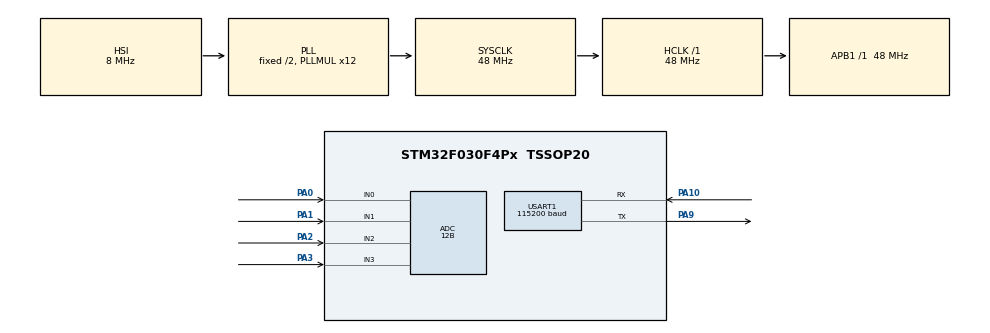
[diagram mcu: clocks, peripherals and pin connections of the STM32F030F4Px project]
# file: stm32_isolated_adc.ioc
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ADC.ClockPrescaler=ADC_CLOCK_SYNC_PCLK_DIV4
ADC.ContinuousConvMode=ENABLE
ADC.DMAContinuousRequests=ENABLE
ADC.DataAlign=ADC_DATAALIGN_RIGHT
ADC.DiscontinuousConvMode=DISABLE
ADC.EOCSelection=ADC_EOC_SEQ_CONV
ADC.EnableAnalogWatchDog=false
ADC.ExternalTrigConv=ADC_SOFTWARE_START
ADC.ExternalTrigConvEdge=ADC_EXTERNALTRIGCONVEDGE_NONE
ADC.LowPowerAutoPowerOff=DISABLE
ADC.LowPowerAutoWait=DISABLE
ADC.Overrun=ADC_OVR_DATA_OVERWRITTEN
ADC.Resolution=ADC_RESOLUTION_12B
ADC.SamplingTime=ADC_SAMPLETIME_239CYCLES_5
ADC.ScanConvMode=ADC_SCAN_DIRECTION_FORWARD
Dma.ADC.0.Direction=DMA_PERIPH_TO_MEMORY
Dma.ADC.0.Instance=DMA1_Channel1
Dma.ADC.0.MemDataAlignment=DMA_MDATAALIGN_HALFWORD
Dma.ADC.0.MemInc=DMA_MINC_ENABLE
Dma.ADC.0.Mode=DMA_CIRCULAR
Dma.ADC.0.PeriphDataAlignment=DMA_PDATAALIGN_HALFWORD
Dma.ADC.0.PeriphInc=DMA_PINC_DISABLE
Dma.ADC.0.Priority=DMA_PRIORITY_LOW
Dma.Request0=ADC
Dma.Request1=USART1_TX
Dma.USART1_TX.1.Direction=DMA_MEMORY_TO_PERIPH
Dma.USART1_TX.1.Instance=DMA1_Channel2
Dma.USART1_TX.1.MemDataAlignment=DMA_MDATAALIGN_BYTE
Dma.USART1_TX.1.MemInc=DMA_MINC_ENABLE
Dma.USART1_TX.1.Mode=DMA_NORMAL
Dma.USART1_TX.1.PeriphDataAlignment=DMA_PDATAALIGN_BYTE
Dma.USART1_TX.1.PeriphInc=DMA_PINC_DISABLE
Dma.USART1_TX.1.Priority=DMA_PRIORITY_LOW
Mcu.Family=STM32F0
Mcu.Name=STM32F030F4Px
Mcu.Package=TSSOP20
NVIC.ADC1_IRQn=true\:0\:0\:false\:false\:true\:true
NVIC.DMA1_Channel1_IRQn=true\:0\:0\:false\:false\:true\:false
NVIC.DMA1_Channel2_3_IRQn=true\:0\:0\:false\:false\:true\:false
NVIC.TIM1_BRK_UP_TRG_COM_IRQn=true\:0\:0\:false\:false\:true\:true
NVIC.USART1_IRQn=true\:0\:0\:false\:false\:true\:true
PA0.Mode=IN0
PA0.Signal=ADC_IN0
PA1.Mode=IN1
PA1.Signal=ADC_IN1
PA10.Mode=Asynchronous
PA10.Signal=USART1_RX
PA13.Mode=Serial_Wire
PA13.Signal=SYS_SWDIO
PA14.Mode=Serial_Wire
PA14.Signal=SYS_SWCLK
PA2.Mode=IN2
PA2.Signal=ADC_IN2
PA3.Mode=IN3
PA3.Signal=ADC_IN3
PA9.Mode=Asynchronous
PA9.Signal=USART1_TX
ProjectManager.HeapSize=0x200
ProjectManager.StackSize=0x400
ProjectManager.TargetToolchain=Other Toolchains (GPDSC)
RCC.AHBFreq_Value=48000000
RCC.APB1Freq_Value=48000000
RCC.APB1TimFreq_Value=48000000
RCC.HCLKFreq_Value=48000000
RCC.PLLMUL=RCC_PLL_MUL12
RCC.SYSCLKFreq_VALUE=48000000
RCC.SYSCLKSource=RCC_SYSCLKSOURCE_PLLCLK
RCC.Usart1ClockSelection=RCC_USART1CLKSOURCE_HSI
USART1.BaudRate=115200
USART1.DataInvertParam=ADVFEATURE_DATAINV_DISABLE
USART1.RxPinLevelInvertParam=ADVFEATURE_RXINV_DISABLE
USART1.TxPinLevelInvertParam=ADVFEATURE_TXINV_DISABLE
USART1.VirtualMode-Asynchronous=VM_ASYNC
VP_TIM1_VS_ClockSourceINT.Mode=Internal
board=stm32_isolated_adc

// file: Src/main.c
/**
  ******************************************************************************
  * File Name          : main.c
  * Description        : Main program body
  ******************************************************************************
  ** This notice applies to any and all portions of this file
  * that are not between comment pairs USER CODE BEGIN and
  * USER CODE END. Other portions of this file, whether
  * inserted by the user or by software development tools
  * are owned by their respective copyright owners.
  *
  * COPYRIGHT(c) 2018 STMicroelectronics
  *
  * Redistribution and use in source and binary forms, with or without modification,
  * are permitted provided that the following conditions are met:
  *   1. Redistributions of source code must retain the above copyright notice,
  *      this list of conditions and the following disclaimer.
  *   2. Redistributions in binary form must reproduce the above copyright notice,
  *      this list of conditions and the following disclaimer in the documentation
  *      and/or other materials provided with the distribution.
  *   3. Neither the name of STMicroelectronics nor the names of its contributors
  *      may be used to endorse or promote products derived from this software
  *      without specific prior written permission.
  *
  * THIS SOFTWARE IS PROVIDED BY THE COPYRIGHT HOLDERS AND CONTRIBUTORS "AS IS"
  * AND ANY EXPRESS OR IMPLIED WARRANTIES, INCLUDING, BUT NOT LIMITED TO, THE
  * IMPLIED WARRANTIES OF MERCHANTABILITY AND FITNESS FOR A PARTICULAR PURPOSE ARE
  * DISCLAIMED. IN NO EVENT SHALL THE COPYRIGHT HOLDER OR CONTRIBUTORS BE LIABLE
  * FOR ANY DIRECT, INDIRECT, INCIDENTAL, SPECIAL, EXEMPLARY, OR CONSEQUENTIAL
  * DAMAGES (INCLUDING, BUT NOT LIMITED TO, PROCUREMENT OF SUBSTITUTE GOODS OR
  * SERVICES; LOSS OF USE, DATA, OR PROFITS; OR BUSINESS INTERRUPTION) HOWEVER
  * CAUSED AND ON ANY THEORY OF LIABILITY, WHETHER IN CONTRACT, STRICT LIABILITY,
  * OR TORT (INCLUDING NEGLIGENCE OR OTHERWISE) ARISING IN ANY WAY OUT OF THE USE
  * OF THIS SOFTWARE, EVEN IF ADVISED OF THE POSSIBILITY OF SUCH DAMAGE.
  *
  ******************************************************************************
  */

#include "main.h"
#include "stm32f0xx_hal.h"

/* USER CODE BEGIN Includes */
//#include "log.h"
#include <pb_encode.h>
#include "adc_reading.pb.h"
/* USER CODE END Includes */

ADC_HandleTypeDef hadc;
DMA_HandleTypeDef hdma_adc;

TIM_HandleTypeDef htim1;

UART_HandleTypeDef huart1;
DMA_HandleTypeDef hdma_usart1_tx;

/* USER CODE BEGIN PV */
/* Private variables ---------------------------------------------------------*/
#define USE_FULL_ASSERT 1
/* USER CODE END PV */

void SystemClock_Config(void);
static void MX_GPIO_Init(void);
static void MX_DMA_Init(void);
static void MX_USART1_UART_Init(void);
static void MX_ADC_Init(void);
static void MX_TIM1_Init(void);

/* USER CODE BEGIN PFP */
/* Private function prototypes -----------------------------------------------*/

/* USER CODE END PFP */

/* USER CODE BEGIN 0 */
#define COUNTOF(__BUFFER__)   (sizeof(__BUFFER__) / sizeof(*(__BUFFER__)))
#define ADCCONVERTEDVALUES_BUFFER_SIZE ((uint8_t)    4)
volatile uint16_t   aADCxConvertedValues[ADCCONVERTEDVALUES_BUFFER_SIZE];
uint8_t         i = 0;
#define VDDA_APPLI                     ((uint32_t) 3300)    /* Value of analog voltage supply Vdda (unit: mV) */
#define RANGE_12BITS                   ((uint32_t) 4095)    /* Max digital value with a full range of 12 bits */
#define COMPUTATION_DIGITAL_12BITS_TO_VOLTAGE(ADC_DATA) ( ((ADC_DATA) * VDDA_APPLI) / RANGE_12BITS )
__IO ITStatus UartReady = SET;

void HAL_UART_TxCpltCallback(UART_HandleTypeDef *UartHandle) {
  /* Set transmission flag: trasfer complete*/
  UartReady = SET;
}

void HAL_UART_ErrorCallback(UART_HandleTypeDef *UartHandle) {
	Error_Handler();
}

/* USER CODE END 0 */

int main(void)
{

  /* MCU Configuration----------------------------------------------------------*/

  /* Reset of all peripherals, Initializes the Flash interface and the Systick. */
  HAL_Init();

  /* Configure the system clock */
  SystemClock_Config();

  /* Initialize all configured peripherals */
  MX_GPIO_Init();
  MX_DMA_Init();
  MX_USART1_UART_Init();
  MX_ADC_Init();
  MX_TIM1_Init();

  /* USER CODE BEGIN 2 */
	if (HAL_ADCEx_Calibration_Start(&hadc) != HAL_OK) {
		Error_Handler();
	}

	AdcReadings message = AdcReadings_init_default;
	uint8_t txbuffer[32];
	uint8_t rxbuffer[1];
	pb_ostream_t stream;
	bool status;
	size_t message_length;

  /* USER CODE END 2 */

  /* Infinite loop */
  while (1)
  {

  /* USER CODE BEGIN 3 */
	  if (UartReady == SET)
	  {
		  if (HAL_UART_Receive(&huart1, (uint8_t *)rxbuffer, 1, 0x1FFFFFF) != HAL_OK) {
			  Error_Handler();
		  }
		  UartReady = RESET;
		  HAL_ADC_PollForConversion(&hadc, 1000);
		  stream = pb_ostream_from_buffer((txbuffer+1), sizeof(txbuffer)-1);
//		  message.reading1 = COMPUTATION_DIGITAL_12BITS_TO_VOLTAGE(aADCxConvertedValues[0]);
//		  message.reading2 = COMPUTATION_DIGITAL_12BITS_TO_VOLTAGE(aADCxConvertedValues[1]);
//		  message.reading3 = COMPUTATION_DIGITAL_12BITS_TO_VOLTAGE(aADCxConvertedValues[2]);
//		  message.reading4 = COMPUTATION_DIGITAL_12BITS_TO_VOLTAGE(aADCxConvertedValues[3]);
		  message.reading1 = 1;
		  message.reading2 = 2;
		  message.reading3 = 3;
		  message.reading4 = 4;
		  status = pb_encode(&stream, AdcReadings_fields, &message);
		  message_length = stream.bytes_written;
		  txbuffer[0] = (int) message_length;

		  if (HAL_UART_Transmit_DMA(&huart1, (uint8_t*)txbuffer, 32) != HAL_OK) {
			  Error_Handler();
		  }
	  }
  }
  /* USER CODE END 3 */

}

/** System Clock Configuration
*/
void SystemClock_Config(void)
{

  RCC_OscInitTypeDef RCC_OscInitStruct;
  RCC_ClkInitTypeDef RCC_ClkInitStruct;
  RCC_PeriphCLKInitTypeDef PeriphClkInit;

    /**Initializes the CPU, AHB and APB busses clocks
    */
  RCC_OscInitStruct.OscillatorType = RCC_OSCILLATORTYPE_HSI;
  RCC_OscInitStruct.HSIState = RCC_HSI_ON;
  RCC_OscInitStruct.HSICalibrationValue = 16;
  RCC_OscInitStruct.PLL.PLLState = RCC_PLL_ON;
  RCC_OscInitStruct.PLL.PLLSource = RCC_PLLSOURCE_HSI;
  RCC_OscInitStruct.PLL.PLLMUL = RCC_PLL_MUL12;
  RCC_OscInitStruct.PLL.PREDIV = RCC_PREDIV_DIV1;
  if (HAL_RCC_OscConfig(&RCC_OscInitStruct) != HAL_OK)
  {
    _Error_Handler(__FILE__, __LINE__);
  }

    /**Initializes the CPU, AHB and APB busses clocks
    */
  RCC_ClkInitStruct.ClockType = RCC_CLOCKTYPE_HCLK|RCC_CLOCKTYPE_SYSCLK
                              |RCC_CLOCKTYPE_PCLK1;
  RCC_ClkInitStruct.SYSCLKSource = RCC_SYSCLKSOURCE_PLLCLK;
  RCC_ClkInitStruct.AHBCLKDivider = RCC_SYSCLK_DIV1;
  RCC_ClkInitStruct.APB1CLKDivider = RCC_HCLK_DIV1;

  if (HAL_RCC_ClockConfig(&RCC_ClkInitStruct, FLASH_LATENCY_1) != HAL_OK)
  {
    _Error_Handler(__FILE__, __LINE__);
  }

  PeriphClkInit.PeriphClockSelection = RCC_PERIPHCLK_USART1;
  PeriphClkInit.Usart1ClockSelection = RCC_USART1CLKSOURCE_HSI;
  if (HAL_RCCEx_PeriphCLKConfig(&PeriphClkInit) != HAL_OK)
  {
    _Error_Handler(__FILE__, __LINE__);
  }

    /**Configure the Systick interrupt time
    */
  HAL_SYSTICK_Config(HAL_RCC_GetHCLKFreq()/1000);

    /**Configure the Systick
    */
  HAL_SYSTICK_CLKSourceConfig(SYSTICK_CLKSOURCE_HCLK);

  /* SysTick_IRQn interrupt configuration */
  HAL_NVIC_SetPriority(SysTick_IRQn, 0, 0);
}

/* ADC init function */
static void MX_ADC_Init(void)
{

  ADC_ChannelConfTypeDef sConfig;

    /**Configure the global features of the ADC (Clock, Resolution, Data Alignment and number of conversion)
    */
  hadc.Instance = ADC1;
  hadc.Init.ClockPrescaler = ADC_CLOCK_SYNC_PCLK_DIV4;
  hadc.Init.Resolution = ADC_RESOLUTION_12B;
  hadc.Init.DataAlign = ADC_DATAALIGN_RIGHT;
  hadc.Init.ScanConvMode = ADC_SCAN_DIRECTION_FORWARD;
  hadc.Init.EOCSelection = ADC_EOC_SEQ_CONV;
  hadc.Init.LowPowerAutoWait = DISABLE;
  hadc.Init.LowPowerAutoPowerOff = DISABLE;
  hadc.Init.ContinuousConvMode = ENABLE;
  hadc.Init.DiscontinuousConvMode = DISABLE;
  hadc.Init.ExternalTrigConv = ADC_SOFTWARE_START;
  hadc.Init.ExternalTrigConvEdge = ADC_EXTERNALTRIGCONVEDGE_NONE;
  hadc.Init.DMAContinuousRequests = ENABLE;
  hadc.Init.Overrun = ADC_OVR_DATA_OVERWRITTEN;
  if (HAL_ADC_Init(&hadc) != HAL_OK)
  {
    _Error_Handler(__FILE__, __LINE__);
  }

    /**Configure for the selected ADC regular channel to be converted.
    */
  sConfig.Channel = ADC_CHANNEL_0;
  sConfig.Rank = ADC_RANK_CHANNEL_NUMBER;
  sConfig.SamplingTime = ADC_SAMPLETIME_239CYCLES_5;
  if (HAL_ADC_ConfigChannel(&hadc, &sConfig) != HAL_OK)
  {
    _Error_Handler(__FILE__, __LINE__);
  }

    /**Configure for the selected ADC regular channel to be converted.
    */
  sConfig.Channel = ADC_CHANNEL_1;
  if (HAL_ADC_ConfigChannel(&hadc, &sConfig) != HAL_OK)
  {
    _Error_Handler(__FILE__, __LINE__);
  }

    /**Configure for the selected ADC regular channel to be converted.
    */
  sConfig.Channel = ADC_CHANNEL_2;
  if (HAL_ADC_ConfigChannel(&hadc, &sConfig) != HAL_OK)
  {
    _Error_Handler(__FILE__, __LINE__);
  }

    /**Configure for the selected ADC regular channel to be converted.
    */
  sConfig.Channel = ADC_CHANNEL_3;
  if (HAL_ADC_ConfigChannel(&hadc, &sConfig) != HAL_OK)
  {
    _Error_Handler(__FILE__, __LINE__);
  }

}

/* TIM1 init function */
static void MX_TIM1_Init(void)
{

  TIM_ClockConfigTypeDef sClockSourceConfig;
  TIM_MasterConfigTypeDef sMasterConfig;

  htim1.Instance = TIM1;
  htim1.Init.Prescaler = 0;
  htim1.Init.CounterMode = TIM_COUNTERMODE_UP;
  htim1.Init.Period = 0;
  htim1.Init.ClockDivision = TIM_CLOCKDIVISION_DIV1;
  htim1.Init.RepetitionCounter = 0;
  htim1.Init.AutoReloadPreload = TIM_AUTORELOAD_PRELOAD_DISABLE;
  if (HAL_TIM_Base_Init(&htim1) != HAL_OK)
  {
    _Error_Handler(__FILE__, __LINE__);
  }

  sClockSourceConfig.ClockSource = TIM_CLOCKSOURCE_INTERNAL;
  if (HAL_TIM_ConfigClockSource(&htim1, &sClockSourceConfig) != HAL_OK)
  {
    _Error_Handler(__FILE__, __LINE__);
  }

  sMasterConfig.MasterOutputTrigger = TIM_TRGO_RESET;
  sMasterConfig.MasterSlaveMode = TIM_MASTERSLAVEMODE_DISABLE;
  if (HAL_TIMEx_MasterConfigSynchronization(&htim1, &sMasterConfig) != HAL_OK)
  {
    _Error_Handler(__FILE__, __LINE__);
  }

}

/* USART1 init function */
static void MX_USART1_UART_Init(void)
{

  huart1.Instance = USART1;
  huart1.Init.BaudRate = 115200;
  huart1.Init.WordLength = UART_WORDLENGTH_8B;
  huart1.Init.StopBits = UART_STOPBITS_1;
  huart1.Init.Parity = UART_PARITY_NONE;
  huart1.Init.Mode = UART_MODE_TX_RX;
  huart1.Init.HwFlowCtl = UART_HWCONTROL_NONE;
  huart1.Init.OverSampling = UART_OVERSAMPLING_16;
  huart1.Init.OneBitSampling = UART_ONE_BIT_SAMPLE_DISABLE;
  huart1.AdvancedInit.AdvFeatureInit = UART_ADVFEATURE_NO_INIT;
  if (HAL_UART_Init(&huart1) != HAL_OK)
  {
    _Error_Handler(__FILE__, __LINE__);
  }

}

static void MX_DMA_Init(void)
{
  /* DMA controller clock enable */
  __HAL_RCC_DMA1_CLK_ENABLE();

  /* DMA interrupt init */
  /* DMA1_Channel1_IRQn interrupt configuration */
  HAL_NVIC_SetPriority(DMA1_Channel1_IRQn, 0, 0);
  HAL_NVIC_EnableIRQ(DMA1_Channel1_IRQn);
  /* DMA1_Channel2_3_IRQn interrupt configuration */
  HAL_NVIC_SetPriority(DMA1_Channel2_3_IRQn, 0, 0);
  HAL_NVIC_EnableIRQ(DMA1_Channel2_3_IRQn);

}

/** Configure pins as
        * Analog
        * Input
        * Output
        * EVENT_OUT
        * EXTI
*/
static void MX_GPIO_Init(void)
{

  /* GPIO Ports Clock Enable */
  __HAL_RCC_GPIOA_CLK_ENABLE();

}

void _Error_Handler(char * file, int line)
{
  /* USER CODE BEGIN Error_Handler_Debug */
  /* User can add his own implementation to report the HAL error return state */
	//LOG("error handler!");
	while (1) {
	}
  /* USER CODE END Error_Handler_Debug */
}

#ifdef USE_FULL_ASSERT

/**
   * @brief Reports the name of the source file and the source line number
   * where the assert_param error has occurred.
   * @param file: pointer to the source file name
   * @param line: assert_param error line source number
   * @retval None
   */
void assert_failed(uint8_t* file, uint32_t line)
{
  /* USER CODE BEGIN 6 */
	//LOG("Wrong parameters value: file %s on line %d\r\n", file, line);
	/* User can add his own implementation to report the file name and line number,
	  ex: printf("Wrong parameters value: file %s on line %d\r\n", file, line) */
  /* USER CODE END 6 */

}

#endif

/************************ (C) COPYRIGHT STMicroelectronics *****END OF FILE****/
